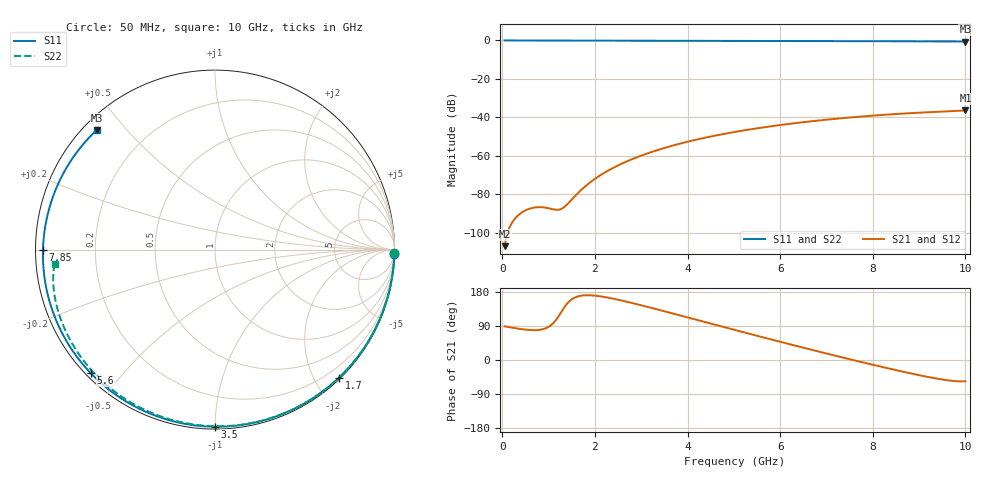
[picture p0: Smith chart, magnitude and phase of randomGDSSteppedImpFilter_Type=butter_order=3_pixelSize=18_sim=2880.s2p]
! freq	dB(S11)	phase(S11)	dB(S12)	phase(S12)
!  dB(S21)	phase(S21)	dB(S22)	phase(S22)
!S-par simulation data
#  GHz  S  DB  R 50
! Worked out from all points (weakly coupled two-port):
!   200 points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, 50 MHz to 10 GHz, reference 50 ohm
!   highest |S21| = -36.43 dB at 10 GHz (marker M1); lowest = -107.0 dB at 50 MHz (marker M2)
!   lowest |S11| = -0.6 dB at 10 GHz (marker M3), VSWR 30.88, Z = 1.9 + j20.9 ohm
!   |S11| at or under -10 dB: nowhere
!   |S22| runs from -0.9 to 0.0 dB; largest |S21 - S12| = 0
!   S11 on the Smith chart (normalised r, x): 50 MHz: 0, -82; 1.7 GHz: 0.02, -2.36; 3.5 GHz: 0.01, -1.00; 5.6 GHz: 0.01, -0.41; 7.85 GHz: 0.02, -0.00; 10 GHz: 0.04, +0.42
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0.05  -0.00 -1.4  -107.04 89.0  -107.04 89.0  -0.00 -0.9
0.8  -0.03 -22.0  -86.73 79.6  -86.73 79.6  -0.02 -14.8
1.6  -0.05 -43.4  -80.25 166.5  -80.25 166.5  -0.04 -29.4
1.7  -0.06 -46.0  -77.89 169.7  -77.89 169.7  -0.04 -31.2
1.75  -0.06 -47.3  -76.79 170.5  -76.79 170.5  -0.04 -32.1
2.05  -0.07 -55.0  -71.20 169.1  -71.20 169.1  -0.05 -37.4
2.45  -0.08 -65.0  -65.62 160.4  -65.62 160.4  -0.06 -44.5
2.9  -0.10 -76.0  -60.84 147.5  -60.84 147.5  -0.07 -52.3
3.4  -0.11 -87.7  -56.67 131.8  -56.67 131.8  -0.08 -60.8
3.5  -0.11 -90.0  -55.94 128.6  -55.94 128.6  -0.08 -62.5
4.25  -0.14 -106.8  -51.29 104.3  -51.29 104.3  -0.10 -74.9
5.05  -0.18 -123.8  -47.49 78.3  -47.49 78.3  -0.13 -87.8
5.6  -0.21 -135.1  -45.36 60.7  -45.36 60.7  -0.16 -96.4
6.15  -0.24 -146.1  -43.55 43.4  -43.55 43.4  -0.19 -104.9
6.7  -0.28 -157.0  -41.99 26.3  -41.99 26.3  -0.22 -113.3
7.3  -0.32 -168.9  -40.53 8.1  -40.53 8.1  -0.26 -122.4
7.85  -0.37 -179.9  -39.39 -8.2  -39.39 -8.2  -0.31 -130.9
8.35  -0.41 170.0  -38.52 -22.5  -38.52 -22.5  -0.36 -138.8
8.9  -0.46 158.6  -37.72 -37.5  -37.72 -37.5  -0.44 -148.0
9.4  -0.51 147.9  -37.13 -49.4  -37.13 -49.4  -0.54 -157.7
9.75  -0.54 140.2  -36.77 -55.5  -36.77 -55.5  -0.67 -166.3
10  -0.56 134.6  -36.43 -55.9  -36.43 -55.9  -0.94 -175.0
